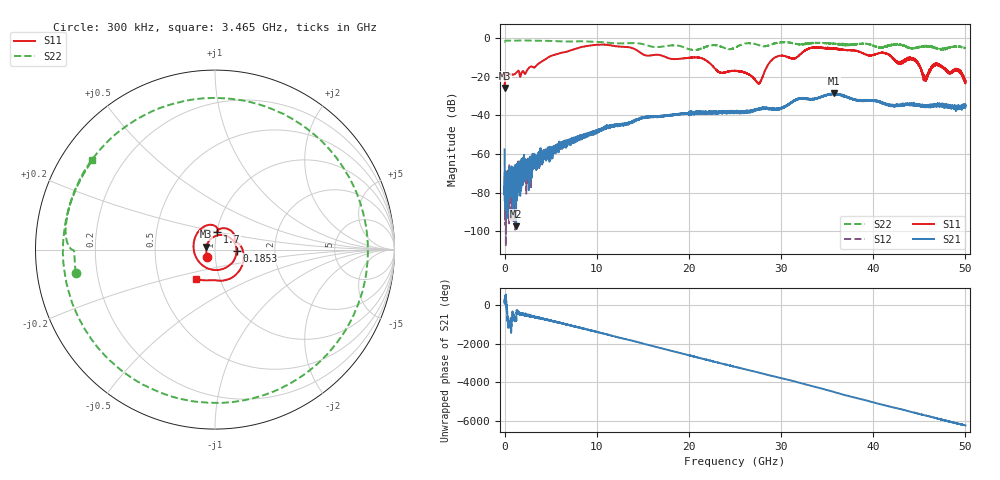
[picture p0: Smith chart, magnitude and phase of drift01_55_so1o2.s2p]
!Created with skrf (http://scikit-rf.org).
# Hz S RI R 50.0
!freq ReS11 ImS11 ReS21 ImS21 ReS12 ImS12 ReS22 ImS22
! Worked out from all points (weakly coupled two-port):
!   10001 points, 300 kHz to 50 GHz, reference 50 ohm
!   highest |S21| = -28.64 dB at 35.71 GHz (marker M1); lowest = -97.4 dB at 1.245 GHz (marker M2)
!   lowest |S11| = -25.8 dB at 5.3 MHz (marker M3), VSWR 1.11, Z = 45.3 + j1.43 ohm
!   |S11| at or under -10 dB: start of sweep to 4.764 GHz; 17.51 GHz to 29.39 GHz (11.87 GHz wide, 50.6 % of centre); 42.05 GHz to end of sweep (the widest 3 of 8)
!   |S22| runs from -6.4 to -1.4 dB; largest |S21 - S12| = 0.0037
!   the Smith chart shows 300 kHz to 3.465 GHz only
!   S11 on the Smith chart (normalised r, x): 300 kHz: 0.91, -0.08; 185.3 MHz: 1.27, -0.02; 1.7 GHz: 1.00, +0.20; 3.465 GHz: 0.77, -0.26
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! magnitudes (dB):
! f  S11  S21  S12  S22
! 300 kHz  -24.0  -57.6  -69.2  -2.1
! 5.3 MHz  -25.8  -74.6  -81.0  -2.1
! 185.3 MHz  -18.4  -78.3  -83.0  -1.4
! 1.245 GHz  -18.2  -97.4  -70.2  -1.4
! 1.7 GHz  -20.1  -70.3  -74.9  -1.4
! 3.465 GHz  -14.3  -63.1  -64.8  -1.5
! 8.335 GHz  -4.8  -52.4  -50.0  -1.8
! 16.67 GHz  -8.7  -40.6  -40.5  -4.8
! 21.2 GHz  -10.3  -38.5  -38.6  -5.8
! 25 GHz  -17.0  -38.7  -38.6  -5.0
! 27.59 GHz  -23.4  -36.9  -36.5  -3.8
! 29.29 GHz  -10.3  -36.6  -36.6  -2.9
! 31.45 GHz  -10.7  -32.5  -32.5  -2.9
! 33.34 GHz  -5.1  -31.7  -31.6  -2.7
! 35.71 GHz  -5.5  -28.6  -29.0  -3.0
! 41.67 GHz  -8.7  -34.7  -34.8  -4.1
! 42.79 GHz  -12.9  -34.6  -34.8  -3.6
! 44.46 GHz  -11.0  -34.8  -34.2  -5.4
! 45.63 GHz  -20.7  -35.9  -34.8  -4.3
! 46.95 GHz  -13.6  -34.1  -34.7  -5.4
! 49.26 GHz  -16.8  -34.9  -35.1  -4.5
! 50 GHz  -22.2  -34.9  -35.3  -5.3
